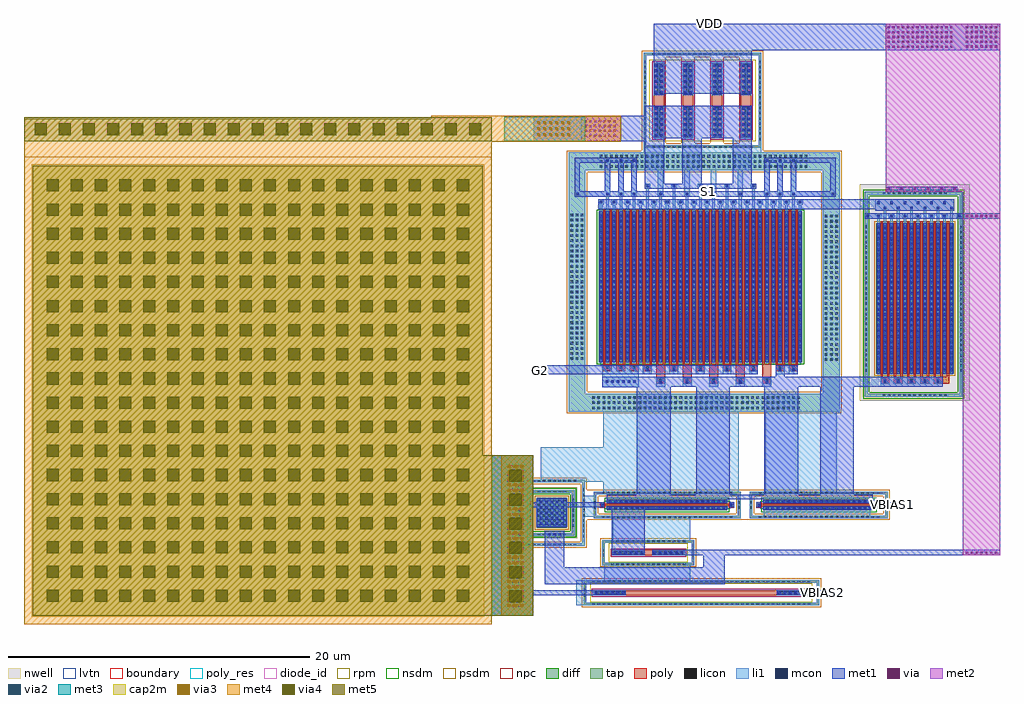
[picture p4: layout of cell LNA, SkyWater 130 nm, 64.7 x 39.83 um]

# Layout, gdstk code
from math import pi, radians
import gdstk
lib = gdstk.Library(unit=1e-6, precision=1e-09)
def R(c, l, rs):  # rectangles x0, y0, x1, y1
    for r in rs: c.add(gdstk.rectangle(r[:2], r[2:], *l))
def A(c, l, x, y, w, h, nx, ny, dx, dy):  # array of equal rectangles
    R(c, l, [(x+i*dx, y+j*dy, x+i*dx+w, y+j*dy+h) for i in range(nx) for j in range(ny)])
nwell = (64, 20)
diff = (65, 20)
tap = (65, 44)
poly_res = (66, 13)
poly = (66, 20)
licon = (66, 44)
li1 = (67, 20)
mcon = (67, 44)
met1 = (68, 20)
via = (68, 44)
met2 = (69, 20)
via2 = (69, 44)
met3 = (70, 20)
via3 = (70, 44)
met4 = (71, 20)
via4 = (71, 44)
met5 = (72, 20)
diode_id = (81, 23)
rpm = (86, 20)
nsdm = (93, 44)
psdm = (94, 20)
npc = (95, 20)
cap2m = (97, 44)
lvtn = (125, 44)
boundary = (235, 4)

sky130_fd_pr__nfet_01v8_ = lib.new_cell('sky130_fd_pr__nfet_01v8_lvt_C43HKJ')
R(sky130_fd_pr__nfet_01v8_, diff, [(-0.365,-3.7,0.365,3.7)])
R(sky130_fd_pr__nfet_01v8_, tap, [(-0.875,-4.57,0.875,-4.4), (-0.875,-4.4,-0.705,4.4), (0.705,-4.4,0.875,4.4), (-0.875,4.4,0.875,4.57)])
R(sky130_fd_pr__nfet_01v8_, poly, [(-0.165,-4.14,0.165,-3.81), (-0.075,-3.81,0.075,3.81), (-0.165,3.81,0.165,4.14)])
A(sky130_fd_pr__nfet_01v8_, licon, -0.875, -3.995, 0.17, 0.17, 1, 24, 0, 0.34)
A(sky130_fd_pr__nfet_01v8_, licon, 0.705, -3.995, 0.17, 0.17, 1, 24, 0, 0.34)
A(sky130_fd_pr__nfet_01v8_, licon, -0.305, -3.485, 0.17, 0.17, 1, 21, 0, 0.34)
A(sky130_fd_pr__nfet_01v8_, licon, 0.135, -3.485, 0.17, 0.17, 1, 21, 0, 0.34)
R(sky130_fd_pr__nfet_01v8_, licon, [(-0.255,-4.57,-0.085,-4.4), (0.085,-4.57,0.255,-4.4), (-0.085,-4.06,0.085,-3.89), (-0.085,3.89,0.085,4.06), (-0.255,4.4,-0.085,4.57), (0.085,4.4,0.255,4.57)])
R(sky130_fd_pr__nfet_01v8_, li1, [(-0.875,-4.57,0.875,-4.4), (-0.875,-4.4,-0.705,4.4), (0.705,-4.4,0.875,4.4), (-0.165,-4.06,0.165,-3.89), (-0.305,-3.72,-0.135,3.72), (0.135,-3.72,0.305,3.72), (-0.165,3.89,0.165,4.06), (-0.875,4.4,0.875,4.57)])
A(sky130_fd_pr__nfet_01v8_, mcon, -0.305, -3.505, 0.17, 0.17, 1, 20, 0, 0.36)
A(sky130_fd_pr__nfet_01v8_, mcon, 0.135, -3.505, 0.17, 0.17, 1, 20, 0, 0.36)
R(sky130_fd_pr__nfet_01v8_, mcon, [(-0.085,-4.06,0.085,-3.89), (-0.085,3.89,0.085,4.06)])
R(sky130_fd_pr__nfet_01v8_, met1, [(-0.145,-4.09,0.145,-3.86), (-0.335,-3.7,-0.105,3.7), (0.105,-3.7,0.335,3.7), (-0.145,3.86,0.145,4.09)])
R(sky130_fd_pr__nfet_01v8_, nsdm, [(-0.49,-3.825,0.49,3.825)])
R(sky130_fd_pr__nfet_01v8_, psdm, [(-1,-4.695,1,-4.275), (-1,-4.275,-0.58,4.275), (0.58,-4.275,1,4.275), (-1,4.275,1,4.695)])
R(sky130_fd_pr__nfet_01v8_, npc, [(-0.185,-4.16,0.185,-3.79), (-0.185,3.79,0.185,4.16)])
R(sky130_fd_pr__nfet_01v8_, lvtn, [(-0.255,-3.88,0.255,3.88)])
R(sky130_fd_pr__nfet_01v8_, boundary, [(-0.79,-4.485,0.79,4.485)])

c_sky130_fd_pr__nfet_01v8_ = lib.new_cell('sky130_fd_pr__nfet_01v8_lvt_H2P3K4')
R(c_sky130_fd_pr__nfet_01v8_, diff, [(-0.365,-4,0.365,4)])
R(c_sky130_fd_pr__nfet_01v8_, tap, [(-0.875,-4.87,0.875,-4.7), (-0.875,-4.7,-0.705,4.7), (0.705,-4.7,0.875,4.7), (-0.875,4.7,0.875,4.87)])
R(c_sky130_fd_pr__nfet_01v8_, poly, [(-0.165,-4.44,0.165,-4.11), (-0.075,-4.11,0.075,4.11), (-0.165,4.11,0.165,4.44)])
A(c_sky130_fd_pr__nfet_01v8_, licon, -0.875, -4.335, 0.17, 0.17, 1, 26, 0, 0.34)
A(c_sky130_fd_pr__nfet_01v8_, licon, 0.705, -4.335, 0.17, 0.17, 1, 26, 0, 0.34)
A(c_sky130_fd_pr__nfet_01v8_, licon, -0.305, -3.825, 0.17, 0.17, 1, 23, 0, 0.34)
A(c_sky130_fd_pr__nfet_01v8_, licon, 0.135, -3.825, 0.17, 0.17, 1, 23, 0, 0.34)
R(c_sky130_fd_pr__nfet_01v8_, licon, [(-0.255,-4.87,-0.085,-4.7), (0.085,-4.87,0.255,-4.7), (-0.085,-4.36,0.085,-4.19), (-0.085,4.19,0.085,4.36), (-0.255,4.7,-0.085,4.87), (0.085,4.7,0.255,4.87)])
R(c_sky130_fd_pr__nfet_01v8_, li1, [(-0.875,-4.87,0.875,-4.7), (-0.875,-4.7,-0.705,4.7), (0.705,-4.7,0.875,4.7), (-0.165,-4.36,0.165,-4.19), (-0.305,-4.02,-0.135,4.02), (0.135,-4.02,0.305,4.02), (-0.165,4.19,0.165,4.36), (-0.875,4.7,0.875,4.87)])
A(c_sky130_fd_pr__nfet_01v8_, mcon, -0.305, -3.865, 0.17, 0.17, 1, 22, 0, 0.36)
A(c_sky130_fd_pr__nfet_01v8_, mcon, 0.135, -3.865, 0.17, 0.17, 1, 22, 0, 0.36)
R(c_sky130_fd_pr__nfet_01v8_, mcon, [(-0.085,-4.36,0.085,-4.19), (-0.085,4.19,0.085,4.36)])
R(c_sky130_fd_pr__nfet_01v8_, met1, [(-0.145,-4.39,0.145,-4.16), (-0.335,-4,-0.105,4), (0.105,-4,0.335,4), (-0.145,4.16,0.145,4.39)])
R(c_sky130_fd_pr__nfet_01v8_, nsdm, [(-0.49,-4.125,0.49,4.125)])
R(c_sky130_fd_pr__nfet_01v8_, psdm, [(-1,-4.995,1,-4.575), (-1,-4.575,-0.58,4.575), (0.58,-4.575,1,4.575), (-1,4.575,1,4.995)])
R(c_sky130_fd_pr__nfet_01v8_, npc, [(-0.185,-4.46,0.185,-4.09), (-0.185,4.09,0.185,4.46)])
R(c_sky130_fd_pr__nfet_01v8_, lvtn, [(-0.255,-4.18,0.255,4.18)])
R(c_sky130_fd_pr__nfet_01v8_, boundary, [(-0.79,-4.785,0.79,4.785)])

sky130_fd_pr__res_high_p = lib.new_cell('sky130_fd_pr__res_high_po_0p35_A4PB2C')
R(sky130_fd_pr__res_high_p, tap, [(-0.825,-3.06,0.825,-2.89), (-0.825,-2.89,-0.655,2.89), (0.655,-2.89,0.825,2.89), (-0.825,2.89,0.825,3.06)])
R(sky130_fd_pr__res_high_p, poly_res, [(-0.175,-0.31,0.175,0.31)])
R(sky130_fd_pr__res_high_p, poly, [(-0.175,-2.41,0.175,2.41)])
A(sky130_fd_pr__res_high_p, licon, -0.825, -2.465, 0.17, 0.17, 1, 15, 0, 0.34)
A(sky130_fd_pr__res_high_p, licon, 0.655, -2.465, 0.17, 0.17, 1, 15, 0, 0.34)
R(sky130_fd_pr__res_high_p, licon, [(-0.255,-3.06,-0.085,-2.89), (0.085,-3.06,0.255,-2.89), (-0.095,-2.33,0.095,-0.33), (-0.095,0.33,0.095,2.33), (-0.255,2.89,-0.085,3.06), (0.085,2.89,0.255,3.06)])
R(sky130_fd_pr__res_high_p, li1, [(-0.825,-3.06,0.825,-2.89), (-0.825,-2.89,-0.655,2.89), (0.655,-2.89,0.825,2.89), (-0.175,-2.41,0.175,-0.25), (-0.175,0.25,0.175,2.41), (-0.825,2.89,0.825,3.06)])
A(sky130_fd_pr__res_high_p, mcon, -0.085, -2.315, 0.17, 0.17, 1, 6, 0, 0.36)
A(sky130_fd_pr__res_high_p, mcon, -0.085, 0.34, 0.17, 0.17, 1, 6, 0, 0.36)
R(sky130_fd_pr__res_high_p, met1, [(-0.125,-2.38,0.125,-0.275), (-0.125,0.275,0.125,2.38)])
R(sky130_fd_pr__res_high_p, rpm, [(-0.635,-2.61,0.635,2.61)])
R(sky130_fd_pr__res_high_p, psdm, [(-0.95,-3.185,0.95,3.185)])
R(sky130_fd_pr__res_high_p, npc, [(-0.27,-2.505,0.27,2.505)])
R(sky130_fd_pr__res_high_p, boundary, [(-0.74,-2.975,0.74,2.975)])

c_sky130_fd_pr__res_high_p = lib.new_cell('sky130_fd_pr__res_high_po_0p35_PGG99R')
R(c_sky130_fd_pr__res_high_p, tap, [(-0.825,-7.81,0.825,-7.64), (-0.825,-7.64,-0.655,7.64), (0.655,-7.64,0.825,7.64), (-0.825,7.64,0.825,7.81)])
R(c_sky130_fd_pr__res_high_p, poly_res, [(-0.175,-5.06,0.175,5.06)])
R(c_sky130_fd_pr__res_high_p, poly, [(-0.175,-7.16,0.175,7.16)])
A(c_sky130_fd_pr__res_high_p, licon, -0.825, -7.225, 0.17, 0.17, 1, 43, 0, 0.34)
A(c_sky130_fd_pr__res_high_p, licon, 0.655, -7.225, 0.17, 0.17, 1, 43, 0, 0.34)
R(c_sky130_fd_pr__res_high_p, licon, [(-0.255,-7.81,-0.085,-7.64), (0.085,-7.81,0.255,-7.64), (-0.095,-7.08,0.095,-5.08), (-0.095,5.08,0.095,7.08), (-0.255,7.64,-0.085,7.81), (0.085,7.64,0.255,7.81)])
R(c_sky130_fd_pr__res_high_p, li1, [(-0.825,-7.81,0.825,-7.64), (-0.825,-7.64,-0.655,7.64), (0.655,-7.64,0.825,7.64), (-0.175,-7.16,0.175,-5), (-0.175,5,0.175,7.16), (-0.825,7.64,0.825,7.81)])
A(c_sky130_fd_pr__res_high_p, mcon, -0.085, -7.065, 0.17, 0.17, 1, 6, 0, 0.36)
A(c_sky130_fd_pr__res_high_p, mcon, -0.085, 5.09, 0.17, 0.17, 1, 6, 0, 0.36)
R(c_sky130_fd_pr__res_high_p, met1, [(-0.125,-7.13,0.125,-5.025), (-0.125,5.025,0.125,7.13)])
R(c_sky130_fd_pr__res_high_p, rpm, [(-0.635,-7.36,0.635,7.36)])
R(c_sky130_fd_pr__res_high_p, psdm, [(-0.95,-7.935,0.95,7.935)])
R(c_sky130_fd_pr__res_high_p, npc, [(-0.27,-7.255,0.27,7.255)])
R(c_sky130_fd_pr__res_high_p, boundary, [(-0.74,-7.725,0.74,7.725)])

c_sky130_fd_pr__res_high_p_ = lib.new_cell('sky130_fd_pr__res_high_po_0p69_D8BZCP')
R(c_sky130_fd_pr__res_high_p_, tap, [(-3.89,-3.155,3.89,-2.985), (-3.89,-2.985,-3.72,2.985), (3.72,-2.985,3.89,2.985), (-3.89,2.985,3.89,3.155)])
A(c_sky130_fd_pr__res_high_p_, poly_res, -3.24, -0.405, 0.69, 0.81, 4, 1, 1.93, 0)
A(c_sky130_fd_pr__res_high_p_, poly, -3.24, -2.505, 0.69, 5.01, 4, 1, 1.93, 0)
A(c_sky130_fd_pr__res_high_p_, licon, -3.315, -3.155, 0.17, 0.17, 20, 2, 0.34, 6.14)
A(c_sky130_fd_pr__res_high_p_, licon, -3.89, -2.635, 0.17, 0.17, 1, 16, 0, 0.34)
A(c_sky130_fd_pr__res_high_p_, licon, 3.72, -2.635, 0.17, 0.17, 1, 16, 0, 0.34)
A(c_sky130_fd_pr__res_high_p_, licon, -2.99, -2.425, 0.19, 2, 4, 2, 1.93, 2.85)
A(c_sky130_fd_pr__res_high_p_, li1, -3.24, -2.505, 0.69, 2.16, 4, 2, 1.93, 2.85)
R(c_sky130_fd_pr__res_high_p_, li1, [(-3.89,-3.155,3.89,-2.985), (-3.89,-2.985,-3.72,2.985), (3.72,-2.985,3.89,2.985), (-3.89,2.985,3.89,3.155)])
A(c_sky130_fd_pr__res_high_p_, mcon, -3.16, -2.41, 0.17, 0.17, 1, 6, 0, 0.36)
A(c_sky130_fd_pr__res_high_p_, mcon, -2.8, -2.41, 0.17, 0.17, 1, 6, 0, 0.36)
A(c_sky130_fd_pr__res_high_p_, mcon, -1.23, -2.41, 0.17, 0.17, 1, 6, 0, 0.36)
A(c_sky130_fd_pr__res_high_p_, mcon, -0.87, -2.41, 0.17, 0.17, 1, 6, 0, 0.36)
A(c_sky130_fd_pr__res_high_p_, mcon, 0.7, -2.41, 0.17, 0.17, 1, 6, 0, 0.36)
A(c_sky130_fd_pr__res_high_p_, mcon, 1.06, -2.41, 0.17, 0.17, 1, 6, 0, 0.36)
A(c_sky130_fd_pr__res_high_p_, mcon, 2.63, -2.41, 0.17, 0.17, 1, 6, 0, 0.36)
A(c_sky130_fd_pr__res_high_p_, mcon, 2.99, -2.41, 0.17, 0.17, 1, 6, 0, 0.36)
A(c_sky130_fd_pr__res_high_p_, mcon, -3.16, 0.435, 0.17, 0.17, 1, 6, 0, 0.36)
A(c_sky130_fd_pr__res_high_p_, mcon, -2.8, 0.435, 0.17, 0.17, 1, 6, 0, 0.36)
A(c_sky130_fd_pr__res_high_p_, mcon, -1.23, 0.435, 0.17, 0.17, 1, 6, 0, 0.36)
A(c_sky130_fd_pr__res_high_p_, mcon, -0.87, 0.435, 0.17, 0.17, 1, 6, 0, 0.36)
A(c_sky130_fd_pr__res_high_p_, mcon, 0.7, 0.435, 0.17, 0.17, 1, 6, 0, 0.36)
A(c_sky130_fd_pr__res_high_p_, mcon, 1.06, 0.435, 0.17, 0.17, 1, 6, 0, 0.36)
A(c_sky130_fd_pr__res_high_p_, mcon, 2.63, 0.435, 0.17, 0.17, 1, 6, 0, 0.36)
A(c_sky130_fd_pr__res_high_p_, mcon, 2.99, 0.435, 0.17, 0.17, 1, 6, 0, 0.36)
A(c_sky130_fd_pr__res_high_p_, met1, -3.19, -2.475, 0.59, 2.105, 4, 2, 1.93, 2.845)
R(c_sky130_fd_pr__res_high_p_, rpm, [(-3.53,-2.705,3.53,2.705)])
R(c_sky130_fd_pr__res_high_p_, psdm, [(-4.015,-3.28,4.015,-2.86), (-4.015,-2.86,-2.44,2.86), (-1.42,-2.86,-0.51,2.86), (0.51,-2.86,1.42,2.86), (2.44,-2.86,4.015,2.86), (-4.015,2.86,4.015,3.28)])
A(c_sky130_fd_pr__res_high_p_, npc, -3.335, -2.6, 0.88, 5.2, 4, 1, 1.93, 0)
R(c_sky130_fd_pr__res_high_p_, boundary, [(-3.805,-3.07,3.805,3.07)])

c_sky130_fd_pr__nfet_01v8__ = lib.new_cell('sky130_fd_pr__nfet_01v8_lvt_9WNFGV')
R(c_sky130_fd_pr__nfet_01v8__, diff, [(-0.365,-5,0.365,5)])
R(c_sky130_fd_pr__nfet_01v8__, poly, [(-0.075,-5.13,0.075,5.13)])
A(c_sky130_fd_pr__nfet_01v8__, licon, -0.305, -4.845, 0.17, 0.17, 1, 29, 0, 0.34)
A(c_sky130_fd_pr__nfet_01v8__, licon, 0.135, -4.845, 0.17, 0.17, 1, 29, 0, 0.34)
R(c_sky130_fd_pr__nfet_01v8__, li1, [(-0.305,-5.02,-0.135,5.02), (0.135,-5.02,0.305,5.02)])
A(c_sky130_fd_pr__nfet_01v8__, mcon, -0.305, -4.765, 0.17, 0.17, 1, 27, 0, 0.36)
A(c_sky130_fd_pr__nfet_01v8__, mcon, 0.135, -4.765, 0.17, 0.17, 1, 27, 0, 0.36)
R(c_sky130_fd_pr__nfet_01v8__, met1, [(-0.335,-5,-0.105,5), (0.105,-5,0.335,5)])
R(c_sky130_fd_pr__nfet_01v8__, nsdm, [(-0.49,-5.125,0.49,5.125)])
R(c_sky130_fd_pr__nfet_01v8__, lvtn, [(-0.255,-5.18,0.255,5.18)])

cascode = lib.new_cell('cascode')
R(cascode, diff, [(0,0.13,13.49,10.13)])
R(cascode, tap, [(-1.995,-3.135,15.97,-2.785), (-1.995,-2.785,15.975,-1.96), (-1.995,-1.96,-0.89,12.865), (14.87,-1.96,15.975,12.865), (-1.995,12.865,15.975,14.04)])
A(cascode, poly, 3.81, -1.28, 0.59, 1.28, 5, 1, 1.76, 0)
A(cascode, poly, 0.29, -0.46, 0.59, 0.46, 4, 1, 0.88, 0)
A(cascode, poly, 4.69, -0.46, 0.59, 0.46, 5, 1, 1.76, 0)
A(cascode, poly, 0.73, 0, 0.15, 10.26, 29, 1, 0.44, 0)
R(cascode, poly, [(12.61,-0.46,13.2,0), (0.29,0.11,0.44,10.26)])
A(cascode, licon, -0.425, -2.975, 0.17, 0.17, 41, 3, 0.34, 0.34)
A(cascode, licon, 4.02, -1.135, 0.17, 0.17, 5, 1, 1.76, 0)
A(cascode, licon, 0.5, -0.315, 0.17, 0.17, 4, 1, 0.88, 0)
A(cascode, licon, 4.9, -0.315, 0.17, 0.17, 5, 1, 1.76, 0)
A(cascode, licon, 14.995, 0.215, 0.17, 0.17, 3, 29, 0.34, 0.34)
A(cascode, licon, -1.87, 0.285, 0.17, 0.17, 3, 29, 0.34, 0.34)
A(cascode, licon, 0.06, 0.285, 0.17, 0.17, 31, 29, 0.44, 0.34)
A(cascode, licon, 0.07, 13.025, 0.17, 0.17, 41, 3, 0.34, 0.34)
R(cascode, licon, [(12.82,-0.315,12.99,-0.145)])
A(cascode, li1, 3.81, -1.495, 0.59, 0.605, 5, 1, 1.76, 0)
A(cascode, li1, 2.93, -0.675, 0.59, 0.605, 6, 1, 1.76, 0)
A(cascode, li1, 0.06, 0.11, 0.17, 10.475, 16, 1, 0.88, 0)
A(cascode, li1, 0.5, 0.11, 0.17, 10.995, 3, 1, 0.88, 0)
A(cascode, li1, 3.14, 0.11, 0.17, 11.52, 5, 1, 1.76, 0)
A(cascode, li1, 4.02, 0.11, 0.17, 10.995, 5, 1, 1.76, 0)
A(cascode, li1, -0.035, 10.585, 0.36, 0.35, 16, 1, 0.88, 0)
A(cascode, li1, 0.405, 11.105, 0.36, 0.35, 3, 1, 0.88, 0)
A(cascode, li1, 3.925, 11.105, 0.36, 0.35, 5, 1, 1.76, 0)
A(cascode, li1, 3.045, 11.63, 0.36, 0.35, 5, 1, 1.76, 0)
R(cascode, li1, [(-1.995,-3.135,15.97,-2.785), (-1.995,-2.785,15.975,-1.96), (-1.995,-1.96,-0.89,12.865), (14.87,-1.96,15.975,12.865), (0.24,-1.51,2.64,-0.07), (12.61,-0.675,13.2,-0.07), (11.94,0.11,12.11,11.105), (12.82,0.11,12.99,11.105), (11.845,11.105,12.205,11.455), (12.725,11.105,13.085,11.455), (-1.995,12.865,15.975,14.04)])
A(cascode, mcon, 4.02, -1.28, 0.17, 0.17, 5, 2, 1.76, 12.475)
A(cascode, mcon, 0.48, -1.225, 0.17, 0.17, 6, 1, 0.36, 0)
A(cascode, mcon, 3.14, -0.46, 0.17, 0.17, 6, 1, 1.76, 0)
A(cascode, mcon, 0.06, 0.365, 0.17, 0.17, 31, 27, 0.44, 0.36)
A(cascode, mcon, 0.06, 10.675, 0.17, 0.17, 16, 1, 0.88, 0)
A(cascode, mcon, 0.5, 11.195, 0.17, 0.17, 3, 1, 0.88, 0)
A(cascode, mcon, 3.14, 11.72, 0.17, 0.17, 5, 1, 1.76, 0)
R(cascode, mcon, [(12.82,-0.46,12.99,-0.29), (11.94,11.195,12.11,11.365), (12.82,11.195,12.99,11.365)])
A(cascode, met1, 0.03, 0.13, 0.23, 10, 31, 1, 0.44, 0)
R(cascode, met1, [(0.24,-1.51,3.04,-1.505), (0.24,-1.505,11.73,-1.495), (0.24,-1.495,12.32,-0.82), (11.73,-0.82,12.32,-0.68), (-3.865,-0.68,10.56,-0.07), (11.73,-0.68,13.2,-0.07), (-0.035,10.585,13.525,10.935), (0.405,11.105,13.085,11.455), (3.045,11.63,10.445,11.98)])
R(cascode, nsdm, [(-0.125,0.005,13.615,10.255)])
R(cascode, psdm, [(-2.12,-3.26,16.095,-2.91), (-2.12,-2.91,16.1,-1.835), (-2.12,-1.835,-0.765,12.74), (14.745,-1.835,16.1,12.74), (-2.12,12.74,16.1,14.165)])
A(cascode, npc, 3.92, -1.235, 0.37, 0.37, 5, 1, 1.76, 0)
A(cascode, npc, 0.4, -0.415, 0.37, 0.37, 4, 1, 0.88, 0)
A(cascode, npc, 4.8, -0.415, 0.37, 0.37, 5, 1, 1.76, 0)
R(cascode, npc, [(12.72,-0.415,13.09,-0.045)])
R(cascode, lvtn, [(0.11,-0.05,13.38,10.31)])
cascode.add(gdstk.Reference(c_sky130_fd_pr__nfet_01v8__, (0.365,5.13)))
cascode.add(gdstk.Label('D2', (7.46,11.98), layer=68, texttype=5))
cascode.add(gdstk.Label('S1', (7.425,11.455), layer=68, texttype=5))
cascode.add(gdstk.Label('G2', (6.745,-1.505), layer=68, texttype=5))
cascode.add(gdstk.Label('G1', (7.175,-0.68), layer=68, texttype=5))

cascode_pmos = lib.new_cell('cascode_PMOS')
R(cascode_pmos, nwell, [(20.315,1.18,27.6,15.54)])
R(cascode_pmos, diff, [(21.39,2.955,26.52,12.955)])
R(cascode_pmos, tap, [(20.65,1.445,27.1,1.625), (20.65,1.625,20.82,14.845), (26.93,1.625,27.1,14.845), (20.65,14.845,27.1,15.025), (15.715,16.94,18.775,17.29)])
A(cascode_pmos, poly, 21.68, 2.305, 0.59, 0.46, 4, 1, 0.88, 0)
A(cascode_pmos, poly, 21.68, 2.765, 0.15, 10.32, 11, 1, 0.44, 0)
R(cascode_pmos, poly, [(25.2,2.305,26.23,2.765)])
A(cascode_pmos, licon, 21.82, 1.45, 0.17, 0.17, 13, 2, 0.34, 13.4)
A(cascode_pmos, licon, 21.89, 2.45, 0.17, 0.17, 5, 1, 0.88, 0)
A(cascode_pmos, licon, 26.93, 3.085, 0.17, 0.17, 1, 29, 0, 0.34)
A(cascode_pmos, licon, 20.65, 3.105, 0.17, 0.17, 1, 29, 0, 0.34)
A(cascode_pmos, licon, 21.45, 3.11, 0.17, 0.17, 12, 29, 0.44, 0.34)
A(cascode_pmos, li1, 21.89, 2.935, 0.17, 10.84, 6, 1, 0.88, 0)
A(cascode_pmos, li1, 22.33, 2.935, 0.17, 10.32, 5, 1, 0.88, 0)
A(cascode_pmos, li1, 22.235, 13.255, 0.36, 0.35, 5, 1, 0.88, 0)
A(cascode_pmos, li1, 5.16, 14.7, 0.36, 2.59, 6, 1, 1.76, 0)
A(cascode_pmos, li1, 6.04, 16.94, 0.36, 0.35, 5, 1, 1.76, 0)
R(cascode_pmos, li1, [(20.65,1.445,27.1,1.625), (20.65,1.625,20.82,13.25), (26.93,1.625,27.1,13.255), (21.68,2.09,25.795,2.765), (21.45,2.935,21.62,13.25), (20.65,13.25,21.62,13.255), (20.65,13.255,21.715,13.605), (26.74,13.255,27.1,13.605), (20.65,13.605,20.82,14.845), (26.93,13.605,27.1,14.845), (21.345,13.775,26.555,14.53), (1.4,14.7,1.76,15.05), (1.96,14.7,3.76,15.05), (4.28,14.7,4.64,17.29), (14.84,14.7,15.2,17.29), (15.72,14.7,18.7,15.05), (20.65,14.845,27.1,15.025), (3.4,15.05,3.76,17.29), (15.72,15.05,16.08,16.94), (15.715,16.94,18.775,17.29)])
A(cascode_pmos, mcon, 21.89, 2.375, 0.17, 0.17, 5, 1, 0.88, 0)
A(cascode_pmos, mcon, 21.45, 3.19, 0.17, 0.17, 12, 27, 0.44, 0.36)
A(cascode_pmos, mcon, 21.45, 13.345, 0.17, 0.17, 6, 2, 0.88, 0.87)
A(cascode_pmos, mcon, 21.89, 13.865, 0.17, 0.17, 6, 1, 0.88, 0)
A(cascode_pmos, mcon, 3.495, 17.03, 0.17, 0.17, 3, 1, 0.88, 0)
A(cascode_pmos, mcon, 14.055, 17.03, 0.17, 0.17, 3, 1, 0.88, 0)
R(cascode_pmos, mcon, [(20.745,13.34,20.915,13.51), (26.835,13.345,27.005,13.515), (1.495,14.79,1.665,14.96), (18.435,14.79,18.605,14.96)])
A(cascode_pmos, met1, 21.42, 2.955, 0.23, 10, 12, 1, 0.44, 0)
R(cascode_pmos, met1, [(9.715,2.09,9.83,2.775), (14.555,2.09,25.795,2.765), (14.555,2.765,24.01,2.775), (20.65,13.25,21.715,13.255), (20.65,13.255,27.655,13.605), (21.345,13.775,26.555,13.875), (2.96,13.875,26.555,14.53), (1.4,14.7,3.76,15.05), (4.28,14.7,4.64,16.94), (5.16,14.7,5.52,16.94), (10.2,14.7,10.305,15.05), (13.96,14.7,14.32,16.94), (14.84,14.7,15.2,16.94), (15.72,14.7,18.7,15.05), (1.4,15.05,1.75,16.94), (3.4,15.05,3.76,16.94), (15.72,15.05,16.08,16.94), (18.35,15.05,18.7,16.94), (10.22,15.225,10.345,15.575), (1.395,16.94,5.52,17.29), (13.96,16.94,18.7,17.29)])
R(cascode_pmos, nsdm, [(20.525,1.32,27.225,1.75), (20.525,1.75,20.945,14.72), (26.805,1.75,27.225,14.72), (20.525,14.72,27.225,15.15)])
R(cascode_pmos, psdm, [(21.265,2.83,26.645,13.08), (15.59,16.815,18.9,17.415)])
A(cascode_pmos, npc, 21.79, 2.35, 0.37, 0.37, 5, 1, 0.88, 0)
cascode_pmos.add(gdstk.Reference(cascode, (2.995,3.595)))
cascode_pmos.add(gdstk.Label('D2', (10.275,15.575), layer=68, texttype=5))
cascode_pmos.add(gdstk.Label('S1', (10.245,15.05), layer=68, texttype=5))
cascode_pmos.add(gdstk.Label('G1', (9.775,2.09), layer=68, texttype=5))
cascode_pmos.add(gdstk.Label('VDD', (27.655,13.355), layer=68, texttype=5))

forwardamp = lib.new_cell('ForwardAmp')
R(forwardamp, li1, [(6.855,16.46,14.635,18.105)])
R(forwardamp, met1, [(10.52,2.09,10.635,2.775), (0,2.915,0.07,3.525), (11.155,14.7,11.23,15.05), (6.91,15.225,8.195,18.585), (9.42,15.225,10.705,18.585), (12.74,15.225,14.025,18.585), (6.91,18.585,14.025,20.745), (7.505,21.52,14.025,26.17)])
R(forwardamp, psdm, [(6.73,17.76,14.76,17.81)])
forwardamp.add(gdstk.Reference(c_sky130_fd_pr__res_high_p_, (10.745,21.09)))
forwardamp.add(gdstk.Reference(cascode_pmos, (0.87,0)))
forwardamp.add(gdstk.Label('VDD', (11.195,26.17), layer=68, texttype=5))
forwardamp.add(gdstk.Label('G1', (10.575,2.09), layer=68, texttype=5))
forwardamp.add(gdstk.Label('G2', (0,3.19), layer=68, texttype=5))
forwardamp.add(gdstk.Label('S1', (11.19,15.05), layer=68, texttype=5))

sky130_fd_pr__cap_mim_m3 = lib.new_cell('sky130_fd_pr__cap_mim_m3_2_LJ5JLG')
R(sky130_fd_pr__cap_mim_m3, met4, [(-16.755,-15.5,16.755,15.5)])
A(sky130_fd_pr__cap_mim_m3, via4, 15.665, -14.8, 0.8, 0.8, 1, 19, 0, 1.6)
A(sky130_fd_pr__cap_mim_m3, via4, -15.255, -14, 0.8, 0.8, 18, 18, 1.6, 1.6)
R(sky130_fd_pr__cap_mim_m3, met5, [(15.265,-15.505,16.865,15.505), (-16.175,-14.92,13.665,14.92)])
R(sky130_fd_pr__cap_mim_m3, cap2m, [(-16.255,-15,13.745,15)])
R(sky130_fd_pr__cap_mim_m3, boundary, [(-16.755,-15.5,14.245,15.5)])

sky130_fd_pr__diode_pd2n = lib.new_cell('sky130_fd_pr__diode_pd2nw_05v5_WW7YB9')
R(sky130_fd_pr__diode_pd2n, nwell, [(-1.69,-1.69,1.69,1.69)])
R(sky130_fd_pr__diode_pd2n, diff, [(-1,-1,1,1)])
R(sky130_fd_pr__diode_pd2n, tap, [(-2.2,-2.2,2.2,-2.03), (-2.2,-2.03,-2.03,2.03), (2.03,-2.03,2.2,2.03), (-1.51,-1.51,1.51,-1.34), (-1.51,-1.34,-1.34,1.34), (1.34,-1.34,1.51,1.34), (-1.51,1.34,1.51,1.51), (-2.2,2.03,2.2,2.2)])
A(sky130_fd_pr__diode_pd2n, licon, -1.615, -2.2, 0.17, 0.17, 10, 2, 0.34, 4.23)
A(sky130_fd_pr__diode_pd2n, licon, -2.2, -1.615, 0.17, 0.17, 1, 10, 0, 0.34)
A(sky130_fd_pr__diode_pd2n, licon, 2.03, -1.615, 0.17, 0.17, 1, 10, 0, 0.34)
A(sky130_fd_pr__diode_pd2n, licon, -0.935, -1.51, 0.17, 0.17, 6, 2, 0.34, 0.575)
A(sky130_fd_pr__diode_pd2n, licon, -1.51, -0.935, 0.17, 0.17, 1, 6, 0, 0.34)
A(sky130_fd_pr__diode_pd2n, licon, 1.34, -0.935, 0.17, 0.17, 1, 6, 0, 0.34)
A(sky130_fd_pr__diode_pd2n, licon, -0.935, -0.595, 0.17, 0.17, 6, 5, 0.34, 0.34)
A(sky130_fd_pr__diode_pd2n, licon, -0.935, 1.34, 0.17, 0.17, 6, 1, 0.34, 0)
R(sky130_fd_pr__diode_pd2n, li1, [(-2.2,-2.2,2.2,-2.03), (-2.2,-2.03,-2.03,2.03), (2.03,-2.03,2.2,2.03), (-1.51,-1.51,1.51,-1.34), (-1.51,-1.34,-1.34,1.34), (1.34,-1.34,1.51,1.34), (-1.02,-0.94,1.02,0.94), (-1.51,1.34,1.51,1.51), (-2.2,2.03,2.2,2.2)])
A(sky130_fd_pr__diode_pd2n, mcon, -0.805, -0.805, 0.17, 0.17, 5, 5, 0.36, 0.36)
R(sky130_fd_pr__diode_pd2n, met1, [(-1,-0.97,1,0.97)])
R(sky130_fd_pr__diode_pd2n, diode_id, [(-1,-1,1,1)])
R(sky130_fd_pr__diode_pd2n, nsdm, [(-1.635,-1.635,1.635,-1.215), (-1.635,-1.215,-1.215,1.215), (1.215,-1.215,1.635,1.215), (-1.635,1.215,1.635,1.635)])
R(sky130_fd_pr__diode_pd2n, psdm, [(-2.325,-2.325,2.325,-1.905), (-2.325,-1.905,-1.905,1.905), (1.905,-1.905,2.325,1.905), (-1.125,-1.125,1.125,1.125), (-2.325,1.905,2.325,2.325)])
R(sky130_fd_pr__diode_pd2n, boundary, [(-1.42,-1.42,1.42,1.42)])

lna = lib.new_cell('LNA')
A(lna, nwell, 23.765, 15.025, 0.36, 0.35, 5, 1, 0.88, 0)
A(lna, li1, 22.885, 15.025, 0.36, 0.35, 6, 1, 0.88, 0)
R(lna, li1, [(2.37,-12.38,2.97,-10.72), (4.245,-10.895,8.2,-10.845), (4.245,-10.845,9.93,-9.635), (4.245,-9.635,8.2,-9.55), (4.795,-8.24,8.795,-8.15), (4.795,-8.15,9.95,-6.495), (0.43,-7.765,1.475,-7.595), (14.805,-6.595,21.88,-5.87), (2.83,-6.52,3.68,-5.14), (4.795,-6.495,8.795,-6.435), (4.17,-5.025,13.15,-4.2), (14.9,-4.975,19.65,1.55), (0.04,-4.2,13.15,-1.91), (4.17,-1.91,13.15,1.415)])
A(lna, mcon, 0.505, -7.765, 0.17, 0.17, 3, 1, 0.36, 0)
A(lna, mcon, 22.98, 15.115, 0.17, 0.17, 6, 1, 0.88, 0)
R(lna, met1, [(-3.23,-13.075,-0.48,-11.725), (-3.23,-11.725,5.67,-11.375), (15.67,-11.725,18.715,-11.375), (-3.23,-11.375,-0.48,-5.895), (0.28,-10.98,12.21,-9.85), (0.28,-9.85,1.57,-7.45), (10.805,-9.85,12.21,-9.07), (4.745,-9.07,6.905,-5.89), (7.4,-9.07,30.47,-8.72), (10.805,-8.72,12.21,-8.71), (-3.23,-5.895,4.24,-5.565), (12.56,-5.895,12.84,-5.565), (14.32,-5.895,14.6,-5.565), (22.32,-5.895,23.355,-5.565), (4.4,-5.595,12.4,-5.365), (14.76,-5.595,22.035,-5.365), (-3.23,-5.565,-0.48,-2.43), (4.4,-5.365,22.035,-5.06), (6.395,-5.06,8.635,2.49), (10.32,-5.06,12.56,2.515), (14.84,-5.06,17.08,2.675), (18.545,-5.06,20.785,2.535), (0,2.915,0.085,3.525), (28.015,13.255,30.47,13.605), (22.885,15.025,27.645,15.375), (11.14,15.04,11.16,15.05), (2.675,18.37,7.485,20.055), (7.505,24.425,30.47,26.17), (27.99,26.17,30.47,26.175)])
A(lna, via, -2.205, -12.5, 0.15, 0.15, 4, 30, 0.32, 0.32)
A(lna, via, 28.21, -8.975, 0.15, 0.15, 7, 1, 0.32, 0)
A(lna, via, 28.205, 13.35, 0.15, 0.15, 7, 2, 0.32, 11.23)
A(lna, via, 22.99, 15.12, 0.15, 0.15, 6, 1, 0.88, 0)
A(lna, via, 2.91, 18.675, 0.15, 0.15, 7, 4, 0.32, 0.32)
A(lna, via, 23.01, 24.575, 0.15, 0.15, 14, 5, 0.32, 0.32)
A(lna, via, 28.205, 24.9, 0.15, 0.15, 7, 4, 0.32, 0.32)
R(lna, met2, [(-3.23,-13.075,-0.48,-2.43), (28.015,-9.07,30.47,15.025), (22.885,15.025,30.47,26.175), (-0.45,18.37,5.345,20.03)])
A(lna, via2, -2.15, -12.485, 0.2, 0.2, 3, 24, 0.4, 0.4)
A(lna, via2, -0.205, 18.695, 0.2, 0.2, 6, 3, 0.4, 0.4)
R(lna, met3, [(-3.23,-13.075,-0.48,-2.43), (-2.39,18.365,2.97,20.015)])
A(lna, via3, -2.15, -12.485, 0.2, 0.2, 3, 24, 0.4, 0.4)
A(lna, via3, -0.205, 18.695, 0.2, 0.2, 6, 3, 0.4, 0.4)
R(lna, met4, [(-2.605,-13.075,-0.48,-2.44), (-2.325,-2.44,-0.49,-2.43), (-7.225,18.36,5.325,20.08)])
A(lna, via4, -2.05, -12.185, 0.8, 0.8, 1, 6, 0, 1.6)
R(lna, met5, [(-6.27,-13.075,-0.49,-2.44)])
R(lna, psdm, [(3.08,-6.73,3.405,-4.73), (13.395,-6.73,13.765,-4.73)])
lna.add(gdstk.Reference(sky130_fd_pr__nfet_01v8_, (18.46,-5.73), rotation=3*pi/2))
lna.add(gdstk.Reference(c_sky130_fd_pr__nfet_01v8_, (8.4,-5.73), rotation=3*pi/2))
lna.add(gdstk.Reference(sky130_fd_pr__res_high_p, (7.155,-8.895), rotation=3*pi/2))
lna.add(gdstk.Reference(c_sky130_fd_pr__res_high_p, (10.67,-11.55), rotation=3*pi/2))
lna.add(gdstk.Reference(forwardamp, (0,0)))
lna.add(gdstk.Reference(sky130_fd_pr__cap_mim_m3, (-18.73,3.105), rotation=pi/2))
lna.add(gdstk.Reference(sky130_fd_pr__diode_pd2n, (0.755,-6.255)))
lna.add(gdstk.Label('VBIAS1', (23.355,-5.71), layer=68, texttype=5))
lna.add(gdstk.Label('VBIAS2', (18.715,-11.565), layer=68, texttype=5))
lna.add(gdstk.Label('VDD', (11.18,26.17), layer=68, texttype=5))
lna.add(gdstk.Label('S1', (11.15,15.05), layer=68, texttype=5))
lna.add(gdstk.Label('G2', (0,3.165), layer=68, texttype=5))

lib.write_gds('LNA.gds')
